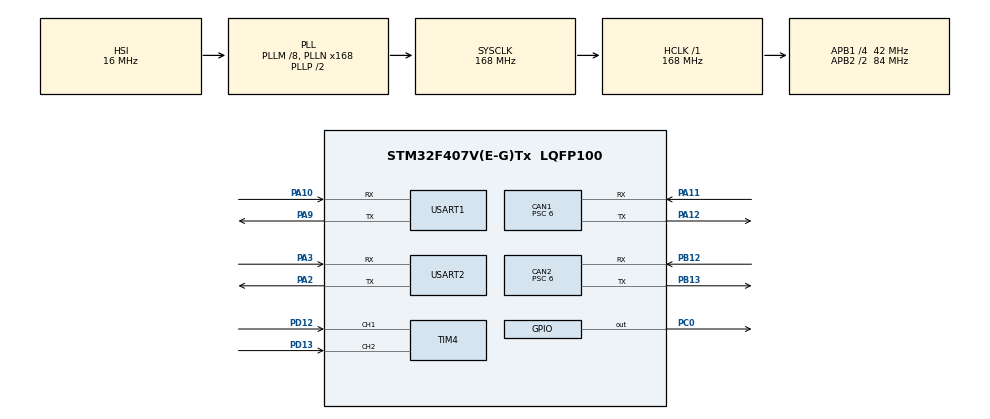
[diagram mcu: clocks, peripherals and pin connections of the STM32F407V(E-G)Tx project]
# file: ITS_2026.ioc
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CAN1.BS1=CAN_BS1_4TQ
CAN1.BS2=CAN_BS2_2TQ
CAN1.CalculateBaudRate=1000000
CAN1.CalculateTimeBit=1000
CAN1.CalculateTimeQuantum=142.85714285714286
CAN1.Prescaler=6
CAN2.BS1=CAN_BS1_4TQ
CAN2.BS2=CAN_BS2_2TQ
CAN2.CalculateBaudRate=1000000
CAN2.CalculateTimeBit=1000
CAN2.CalculateTimeQuantum=142.85714285714286
CAN2.Prescaler=6
FREERTOS.Tasks01=defaultTask,24,128,StartDefaultTask,Default,NULL,Dynamic,NULL,NULL
Mcu.Family=STM32F4
Mcu.Name=STM32F407V(E-G)Tx
Mcu.Package=LQFP100
NVIC.CAN1_RX0_IRQn=true\:5\:0\:false\:false\:true\:true\:true\:true\:true
NVIC.CAN2_RX1_IRQn=true\:5\:0\:false\:false\:true\:true\:true\:true\:true
NVIC.PriorityGroup=NVIC_PRIORITYGROUP_4
NVIC.TIM1_UP_TIM10_IRQn=true\:15\:0\:false\:false\:true\:false\:false\:true\:true
NVIC.TIM2_IRQn=true\:5\:0\:false\:false\:true\:true\:true\:true\:true
NVIC.TIM8_BRK_TIM12_IRQn=true\:5\:0\:false\:false\:true\:true\:true\:true\:true
NVIC.TimeBase=TIM1_UP_TIM10_IRQn
NVIC.TimeBaseIP=TIM1
NVIC.USART1_IRQn=true\:5\:0\:false\:false\:true\:true\:true\:true\:true
PA10.Mode=Asynchronous
PA10.Signal=USART1_RX
PA11.Mode=CAN_Activate
PA11.Signal=CAN1_RX
PA12.Mode=CAN_Activate
PA12.Signal=CAN1_TX
PA13.Mode=Serial_Wire
PA13.Signal=SYS_JTMS-SWDIO
PA14.Mode=Serial_Wire
PA14.Signal=SYS_JTCK-SWCLK
PA2.Mode=Asynchronous
PA2.Signal=USART2_TX
PA3.Mode=Asynchronous
PA3.Signal=USART2_RX
PA9.Mode=Asynchronous
PA9.Signal=USART1_TX
PB12.Mode=CAN_Activate
PB12.Signal=CAN2_RX
PB13.Mode=CAN_Activate
PB13.Signal=CAN2_TX
PC0.GPIO_PuPd=GPIO_PULLUP
PC0.PinState=GPIO_PIN_SET
PC0.Signal=GPIO_Output
PD12.Signal=S_TIM4_CH1
PD13.Signal=S_TIM4_CH2
PH0-OSC_IN.Mode=HSE-External-Oscillator
PH0-OSC_IN.Signal=RCC_OSC_IN
PH1-OSC_OUT.Mode=HSE-External-Oscillator
PH1-OSC_OUT.Signal=RCC_OSC_OUT
ProjectManager.HeapSize=0x200
ProjectManager.StackSize=0x400
ProjectManager.TargetToolchain=Makefile
RCC.48MHZClocksFreq_Value=84000000
RCC.AHBFreq_Value=168000000
RCC.APB1CLKDivider=RCC_HCLK_DIV4
RCC.APB1Freq_Value=42000000
RCC.APB1TimFreq_Value=84000000
RCC.APB2CLKDivider=RCC_HCLK_DIV2
RCC.APB2Freq_Value=84000000
RCC.APB2TimFreq_Value=168000000
RCC.CortexFreq_Value=168000000
RCC.HCLKFreq_Value=168000000
RCC.HSE_VALUE=8000000
RCC.HSI_VALUE=16000000
RCC.LSE_VALUE=32768
RCC.PLLM=8
RCC.PLLN=168
RCC.SYSCLKFreq_VALUE=168000000
RCC.SYSCLKSource=RCC_SYSCLKSOURCE_PLLCLK
RCC.VCOOutputFreq_Value=336000000
SH.S_TIM4_CH1.0=TIM4_CH1,Encoder_Interface
SH.S_TIM4_CH2.0=TIM4_CH2,Encoder_Interface
TIM12.Period=2000-1
TIM12.Prescaler=168-1
TIM2.Period=5000-1
TIM2.Prescaler=168-1
TIM8.Period=2000-1
TIM8.Prescaler=168-1
USART1.VirtualMode=VM_ASYNC
USART2.VirtualMode=VM_ASYNC
VP_FREERTOS_VS_CMSIS_V2.Mode=CMSIS_V2
VP_SYS_VS_tim1.Mode=TIM1
VP_TIM12_VS_ClockSourceINT.Mode=Internal
VP_TIM2_VS_ClockSourceINT.Mode=Internal
VP_TIM8_VS_ClockSourceINT.Mode=Internal
board=custom

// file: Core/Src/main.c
/* USER CODE BEGIN Header */
/**
  ******************************************************************************
  * @file           : main.c
  * @brief          : Main program body
  ******************************************************************************
  * @attention
  *
  * Copyright (c) 2026 STMicroelectronics.
  * All rights reserved.
  *
  * This software is licensed under terms that can be found in the LICENSE file
  * in the root directory of this software component.
  * If no LICENSE file comes with this software, it is provided AS-IS.
  *
  ******************************************************************************
  */
/* USER CODE END Header */
#include "main.h"
#include "cmsis_os.h"
#include "can.h"
#include "tim.h"
#include "usart.h"
#include "gpio.h"

/* USER CODE BEGIN Includes */
#include "DJI.h"
#include "wtr_can.h"
#include "Caculate.h"
#include "string.h"
#include "Thread_Start.h"
/* USER CODE END Includes */

/* USER CODE BEGIN PTD */
extern float* pBeam_distance;
/* USER CODE END PTD */

void SystemClock_Config(void);
void MX_FREERTOS_Init(void);

int main(void)
{

  /* MCU Configuration--------------------------------------------------------*/

  /* Reset of all peripherals, Initializes the Flash interface and the Systick. */
  HAL_Init();

  /* Configure the system clock */
  SystemClock_Config();

  /* Initialize all configured peripherals */
  MX_GPIO_Init();
  MX_CAN1_Init();
  MX_CAN2_Init();
  MX_TIM2_Init();
  MX_TIM4_Init();
  MX_USART1_UART_Init();
  MX_TIM8_Init();
  MX_TIM12_Init();
  MX_USART2_UART_Init();
  /* USER CODE BEGIN 2 */
  HAL_TIM_Base_Start_IT(&htim8);  // 启动时基
  HAL_TIM_Base_Start_IT(&htim12); // 启动时基
  CANFilterInit(&hcan1); //用于初始化can1总线、开启过滤器�?????
  CANFilterInit(&hcan2); //用于初始化can2总线、开启过滤器�?????
  for (int i = 0;i++;i < 8)
  {
    hDJI[i].motorType = M3508;
  }
  DJI_Init();
  /* USER CODE END 2 */

  /* Init scheduler */
  osKernelInitialize();  /* Call init function for freertos objects (in freertos.c) */
  MX_FREERTOS_Init();

  /* Start scheduler */
  osKernelStart();

  /* We should never get here as control is now taken by the scheduler */
  /* Infinite loop */
  while (1)
  {

  }
}

void SystemClock_Config(void)
{
  RCC_OscInitTypeDef RCC_OscInitStruct = {0};
  RCC_ClkInitTypeDef RCC_ClkInitStruct = {0};

  /** Configure the main internal regulator output voltage
  */
  __HAL_RCC_PWR_CLK_ENABLE();
  __HAL_PWR_VOLTAGESCALING_CONFIG(PWR_REGULATOR_VOLTAGE_SCALE1);

  /** Initializes the RCC Oscillators according to the specified parameters
  * in the RCC_OscInitTypeDef structure.
  */
  RCC_OscInitStruct.OscillatorType = RCC_OSCILLATORTYPE_HSI;
  RCC_OscInitStruct.HSIState = RCC_HSI_ON;
  RCC_OscInitStruct.HSICalibrationValue = RCC_HSICALIBRATION_DEFAULT;
  RCC_OscInitStruct.PLL.PLLState = RCC_PLL_ON;
  RCC_OscInitStruct.PLL.PLLSource = RCC_PLLSOURCE_HSI;
  RCC_OscInitStruct.PLL.PLLM = 8;
  RCC_OscInitStruct.PLL.PLLN = 168;
  RCC_OscInitStruct.PLL.PLLP = RCC_PLLP_DIV2;
  RCC_OscInitStruct.PLL.PLLQ = 4;
  if (HAL_RCC_OscConfig(&RCC_OscInitStruct) != HAL_OK)
  {
    Error_Handler();
  }

  /** Initializes the CPU, AHB and APB buses clocks
  */
  RCC_ClkInitStruct.ClockType = RCC_CLOCKTYPE_HCLK|RCC_CLOCKTYPE_SYSCLK
                              |RCC_CLOCKTYPE_PCLK1|RCC_CLOCKTYPE_PCLK2;
  RCC_ClkInitStruct.SYSCLKSource = RCC_SYSCLKSOURCE_PLLCLK;
  RCC_ClkInitStruct.AHBCLKDivider = RCC_SYSCLK_DIV1;
  RCC_ClkInitStruct.APB1CLKDivider = RCC_HCLK_DIV4;
  RCC_ClkInitStruct.APB2CLKDivider = RCC_HCLK_DIV2;

  if (HAL_RCC_ClockConfig(&RCC_ClkInitStruct, FLASH_LATENCY_5) != HAL_OK)
  {
    Error_Handler();
  }
}

void HAL_TIM_PeriodElapsedCallback(TIM_HandleTypeDef *htim)
{
  if (htim->Instance == TIM1) {
    HAL_IncTick();
  }
  /* USER CODE BEGIN Callback 1 */
   else if(htim->Instance == TIM12)
   {
    //启动PID计算
     for (int i = 0;i < 8;i++)
     {
      hDJI[i].flag = 1;
     }
   }
  /* USER CODE END Callback 1 */
}

void Error_Handler(void)
{
  __disable_irq();
  while (1)
  {
  }
}

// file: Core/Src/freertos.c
/* USER CODE BEGIN Header */
/**
  ******************************************************************************
  * File Name          : freertos.c
  * Description        : Code for freertos applications
  ******************************************************************************
  * @attention
  *
  * Copyright (c) 2026 STMicroelectronics.
  * All rights reserved.
  *
  * This software is licensed under terms that can be found in the LICENSE file
  * in the root directory of this software component.
  * If no LICENSE file comes with this software, it is provided AS-IS.
  *
  ******************************************************************************
  */
/* USER CODE END Header */

#include "FreeRTOS.h"
#include "task.h"
#include "main.h"
#include "cmsis_os.h"

/* USER CODE BEGIN Includes */
#include "Thread_Start.h"

/* USER CODE END Includes */

/* Definitions for defaultTask */
osThreadId_t defaultTaskHandle;
const osThreadAttr_t defaultTask_attributes = {
  .name = "defaultTask",
  .stack_size = 128 * 4,
  .priority = (osPriority_t) osPriorityNormal,
};

void StartDefaultTask(void *argument);

void MX_FREERTOS_Init(void); /* (MISRA C 2004 rule 8.1) */

void MX_FREERTOS_Init(void) {

  /* Create the thread(s) */
  /* creation of defaultTask */
  defaultTaskHandle = osThreadNew(StartDefaultTask, NULL, &defaultTask_attributes);

}

void StartDefaultTask(void *argument)
{
  /* USER CODE BEGIN StartDefaultTask */
  //Beam_Start();

  Chassis_Start();
  /* Infinite loop */

  for(;;)
  {
    osDelay(1);
  }
  /* USER CODE END StartDefaultTask */
}
